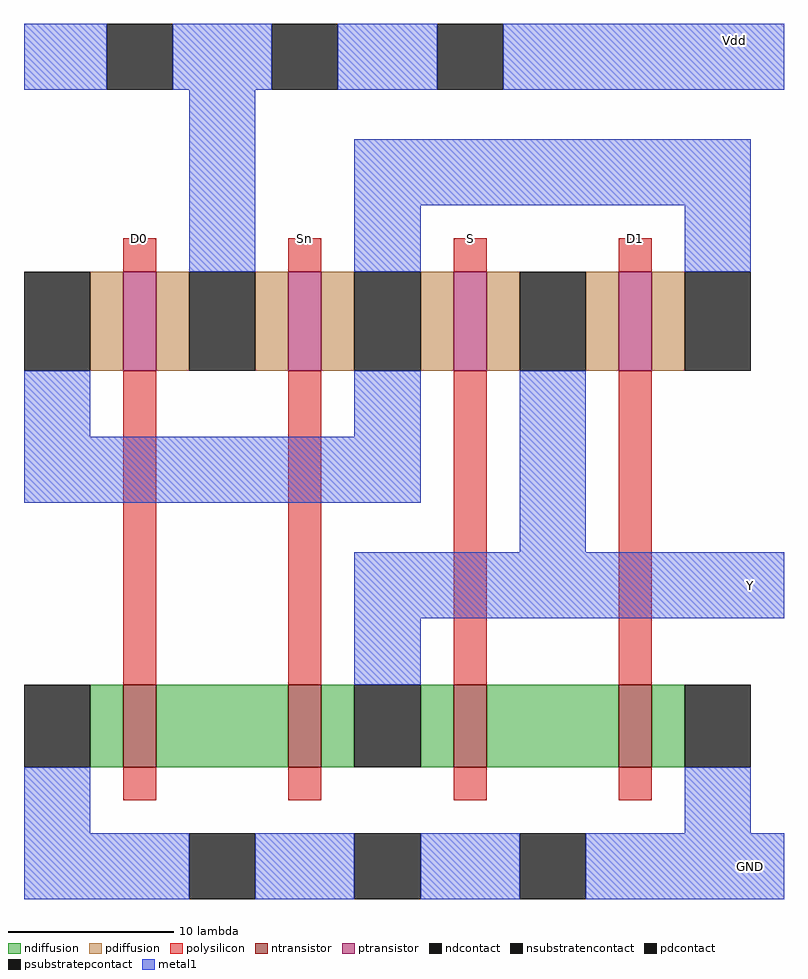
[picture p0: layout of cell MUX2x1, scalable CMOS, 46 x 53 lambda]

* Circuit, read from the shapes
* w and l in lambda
.subckt MUX2x1 D0 D1 GND S Sn Vdd Y
M1 n1 D0 GND GND nfet w=5 l=2
M2 Y Sn n1 GND nfet w=5 l=2
M3 n2 S Y GND nfet w=5 l=2
M4 GND D1 n2 GND nfet w=5 l=2
M5 Vdd D0 n3 Vdd pfet w=6 l=2
M6 n3 Sn Vdd Vdd pfet w=6 l=2
M7 Y S n3 Vdd pfet w=6 l=2
M8 n3 D1 Y Vdd pfet w=6 l=2
.ends

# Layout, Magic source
magic
tech scmos
<< polysilicon >>
rect -21 -3 -19 -1
rect -11 -3 -9 -1
rect -1 -3 1 -1
rect 9 -3 11 -1
rect -21 -28 -19 -9
rect -11 -28 -9 -9
rect -1 -28 1 -9
rect 9 -28 11 -9
rect -21 -35 -19 -33
rect -11 -35 -9 -33
rect -1 -35 1 -33
rect 9 -35 11 -33
<< ndiffusion >>
rect -23 -33 -21 -28
rect -19 -33 -11 -28
rect -9 -33 -7 -28
rect -3 -33 -1 -28
rect 1 -33 9 -28
rect 11 -33 13 -28
<< pdiffusion >>
rect -23 -9 -21 -3
rect -19 -9 -17 -3
rect -13 -9 -11 -3
rect -9 -9 -7 -3
rect -3 -9 -1 -3
rect 1 -9 3 -3
rect 7 -9 9 -3
rect 11 -9 13 -3
<< metal1 >>
rect -27 8 -22 12
rect -18 8 -12 12
rect -8 8 -2 12
rect 2 8 19 12
rect -17 -3 -13 8
rect -7 1 17 5
rect -7 -3 -3 1
rect 13 -3 17 1
rect -27 -13 -23 -9
rect -7 -13 -3 -9
rect -27 -17 -3 -13
rect 3 -20 7 -9
rect -7 -24 19 -20
rect -7 -28 -3 -24
rect -27 -37 -23 -33
rect 13 -37 17 -33
rect -27 -41 -17 -37
rect -13 -41 -7 -37
rect -3 -41 3 -37
rect 7 -41 19 -37
<< ntransistor >>
rect -21 -33 -19 -28
rect -11 -33 -9 -28
rect -1 -33 1 -28
rect 9 -33 11 -28
<< ptransistor >>
rect -21 -9 -19 -3
rect -11 -9 -9 -3
rect -1 -9 1 -3
rect 9 -9 11 -3
<< ndcontact >>
rect -27 -33 -23 -28
rect -7 -33 -3 -28
rect 13 -33 17 -28
<< pdcontact >>
rect -27 -9 -23 -3
rect -17 -9 -13 -3
rect -7 -9 -3 -3
rect 3 -9 7 -3
rect 13 -9 17 -3
<< psubstratepcontact >>
rect -17 -41 -13 -37
rect -7 -41 -3 -37
rect 3 -41 7 -37
<< nsubstratencontact >>
rect -22 8 -18 12
rect -12 8 -8 12
rect -2 8 2 12
<< labels >>
rlabel metal1 17 -23 17 -21 7 Y
rlabel metal1 17 -40 17 -38 8 GND
rlabel metal1 16 10 16 12 6 Vdd
rlabel polysilicon -1 -1 1 -1 1 S
rlabel polysilicon 9 -1 11 -1 1 D1
rlabel polysilicon -21 -1 -19 -1 1 D0
rlabel polysilicon -11 -1 -9 -1 1 Sn
<< end >>
